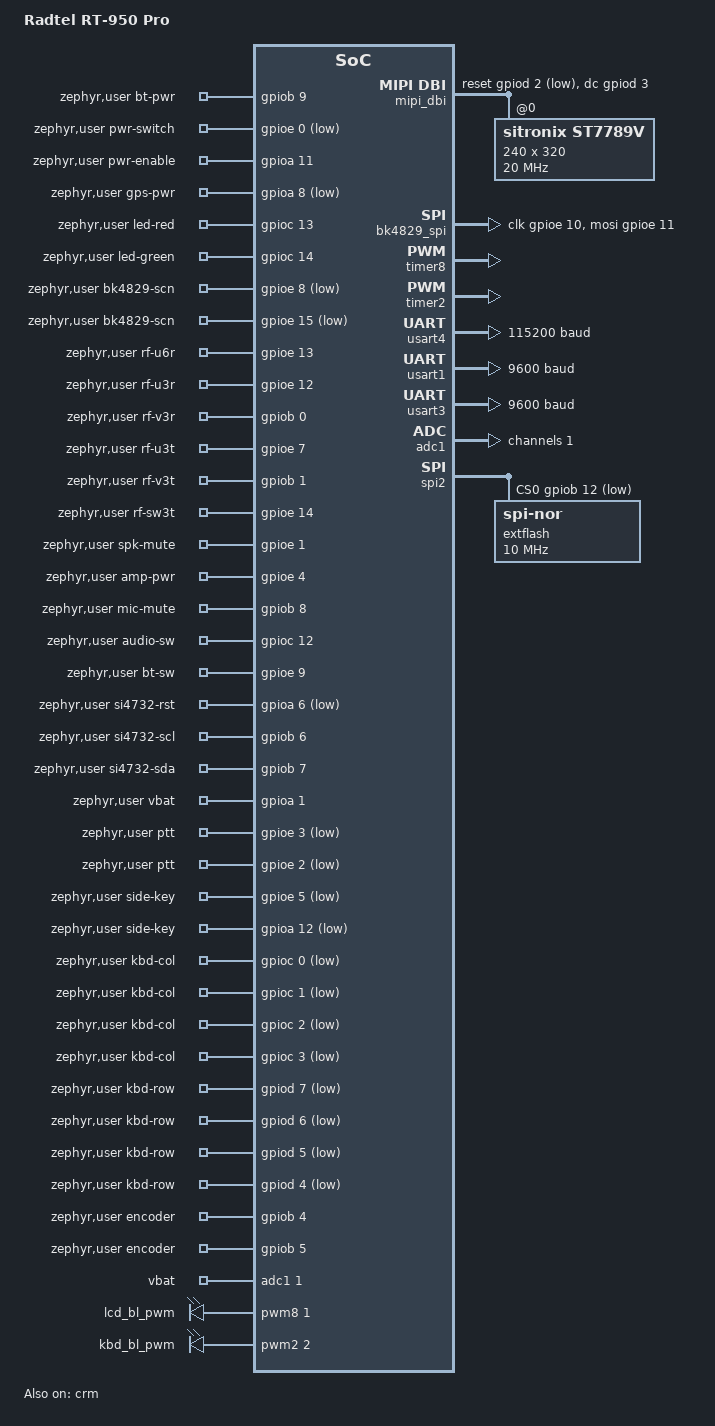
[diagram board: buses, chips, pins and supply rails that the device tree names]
/*
 * SPDX-FileCopyrightText: Copyright 2020-2026 OpenRTX Contributors
 *
 * SPDX-License-Identifier: GPL-3.0-or-later
 */

/*
 * Radtel RT-950 Pro, Artery AT32F403AVGT7 (Cortex-M4F, 1MB flash, 96kB or 224kB SRAM)
 */

/dts-v1/;
#include <at/at32f403a_407/at32f403avgt7.dtsi>
#include <zephyr/dt-bindings/adc/adc.h>
#include <zephyr/dt-bindings/gpio/gpio.h>
#include <zephyr/dt-bindings/pwm/pwm.h>
#include "rt950pro-pinctrl.dtsi"

/ {
	model = "Radtel RT-950 Pro";
	compatible = "radtel,rt950pro";

	aliases {
		gps = &usart3;
		bluetooth = &usart1;
	};

	chosen {
		zephyr,console = &usart4;
		zephyr,shell-uart = &usart4;
		zephyr,sram = &sram0;
		zephyr,flash = &flash0;
		zephyr,code-partition = &code_partition;
		zephyr,display = &st7789v;
	};

	/*
	 * ST7789V 240x320 IPS panel on an 8-bit 8080 parallel bus, bit-banged
	 * on GPIOD. The data lines share GPIOD with the keypad rows (PD4-PD7):
	 * the bit-bang driver only touches the data/control pins.
	 */
	mipi_dbi: mipi-dbi {
		compatible = "zephyr,mipi-dbi-bitbang";
		#address-cells = <1>;
		#size-cells = <0>;
		status = "okay";

		wr-gpios = <&gpiod 0 GPIO_ACTIVE_HIGH>;
		cs-gpios = <&gpiod 1 GPIO_ACTIVE_LOW>;
		reset-gpios = <&gpiod 2 GPIO_ACTIVE_LOW>;
		dc-gpios = <&gpiod 3 GPIO_ACTIVE_HIGH>;
		data-gpios = <&gpiod 8 GPIO_ACTIVE_HIGH>,
			     <&gpiod 9 GPIO_ACTIVE_HIGH>,
			     <&gpiod 10 GPIO_ACTIVE_HIGH>,
			     <&gpiod 11 GPIO_ACTIVE_HIGH>,
			     <&gpiod 12 GPIO_ACTIVE_HIGH>,
			     <&gpiod 13 GPIO_ACTIVE_HIGH>,
			     <&gpiod 14 GPIO_ACTIVE_HIGH>,
			     <&gpiod 15 GPIO_ACTIVE_HIGH>;

		/* Init values from the vendor firmware V0.27 LCD_Init sequence */
		st7789v: st7789v@0 {
			compatible = "sitronix,st7789v";
			reg = <0>;
			mipi-max-frequency = <20000000>;
			mipi-mode = "MIPI_DBI_MODE_8080_BUS_8_BIT";
			width = <240>;
			height = <320>;
			x-offset = <0>;
			y-offset = <0>;
			vcom = <0x3f>;
			gctrl = <0x35>;
			vrhs = <0x0f>;
			vdvs = <0x20>;
			mdac = <0xc0>;
			gamma = <0x01>;
			colmod = <0x05>;
			lcm = <0x2c>;
			porch-param = [05 05 00 33 33];
			cmd2en-param = [5a 69 02 01];
			pwctrl1-param = [a4 a1];
			pvgam-param = [d0 05 09 09 08 14 28 33 3f 07 13 14 28 30];
			nvgam-param = [d0 05 09 09 08 03 24 32 32 3b 14 13 28 2f];
			ram-param = [00 f0];
			rgb-param = [cd 08 14];
		};
	};

	/*
	 * Shared BK4829 half-duplex bus. Chip selects are controlled by the
	 * BK4829 driver across the command and data transfers.
	 */
	bk4829_spi: bk4829-spi {
		compatible = "zephyr,spi-bitbang";
		status = "okay";
		#address-cells = <1>;
		#size-cells = <0>;
		clk-gpios = <&gpioe 10 GPIO_ACTIVE_HIGH>;
		mosi-gpios = <&gpioe 11 GPIO_ACTIVE_HIGH>;
	};

	/*
	 * Board GPIOs used directly by the OpenRTX platform, display and
	 * keyboard drivers.
	 */
	zephyr,user {
		io-channels = <&adc1 1>;
		io-channel-names = "vbat";

		/*
		 * Bluetooth module enable, high powers it on. The vendor firmware
		 * sets it high when the Bluetooth setting is on and low
		 * otherwise, right after configuring USART1.
		 */
		bt-pwr-gpios = <&gpiob 9 GPIO_ACTIVE_HIGH>;

		/* Power/volume knob switch, low when the radio is switched on */
		pwr-switch-gpios = <&gpioe 0 (GPIO_PULL_UP | GPIO_ACTIVE_LOW)>;

		/* Power off */
		pwr-enable-gpios = <&gpioa 11 GPIO_ACTIVE_HIGH>;

		/* GPS power enable, active low */
		gps-pwr-gpios = <&gpioa 8 GPIO_ACTIVE_LOW>;

		led-red-gpios = <&gpioc 13 GPIO_ACTIVE_HIGH>;
		led-green-gpios = <&gpioc 14 GPIO_ACTIVE_HIGH>;

		/*
		 * BK4829 chip selects. The first transceiver (PE8) is wired to
		 * the VHF LNA and PA, the second one (PE15) to the UHF ones.
		 */
		bk4829-scn-gpios = <&gpioe 8 GPIO_ACTIVE_LOW>,
				   <&gpioe 15 GPIO_ACTIVE_LOW>;

		/*
		 * RF path switches, active high and idle low. Names are the
		 * PCB net names found by reverse
		 * engineering: U6R/U3R are RX path enables, V3R selects the
		 * VHF RX frontend, U3T/V3T/SW3T are the TX path and PA gate.
		 * PC4 (antenna band relay) is not handled.
		 */
		rf-u6r-gpios = <&gpioe 13 GPIO_ACTIVE_HIGH>;
		rf-u3r-gpios = <&gpioe 12 GPIO_ACTIVE_HIGH>;
		rf-v3r-gpios = <&gpiob 0 GPIO_ACTIVE_HIGH>;
		rf-u3t-gpios = <&gpioe 7 GPIO_ACTIVE_HIGH>;
		rf-v3t-gpios = <&gpiob 1 GPIO_ACTIVE_HIGH>;
		rf-sw3t-gpios = <&gpioe 14 GPIO_ACTIVE_HIGH>;

		/*
		 * Audio path, found by reverse engineering. PE1 mutes the
		 * speaker when high, PE4 powers the audio amplifier, PB8 high
		 * takes the microphone off its line. PC12 selects the audio
		 * source: high for the BK4829 chips, low for the MCU DAC. PE9
		 * low routes the audio to the speaker instead of the Bluetooth
		 * module.
		 */
		spk-mute-gpios = <&gpioe 1 GPIO_ACTIVE_HIGH>;
		amp-pwr-gpios = <&gpioe 4 GPIO_ACTIVE_HIGH>;
		mic-mute-gpios = <&gpiob 8 GPIO_ACTIVE_HIGH>;
		audio-sw-gpios = <&gpioc 12 GPIO_ACTIVE_HIGH>;
		bt-sw-gpios = <&gpioe 9 GPIO_ACTIVE_HIGH>;

		/*
		 * SI4732 broadcast receiver at address 0x11
		 */
		si4732-rst-gpios = <&gpioa 6 GPIO_ACTIVE_LOW>;
		si4732-scl-gpios = <&gpiob 6 GPIO_ACTIVE_HIGH>;
		si4732-sda-gpios = <&gpiob 7 GPIO_ACTIVE_HIGH>;

		/* Battery voltage through a resistive divider, ADC1 channel 1 */
		vbat-gpios = <&gpioa 1 0>;

		ptt-gpios = <&gpioe 3 (GPIO_PULL_UP | GPIO_ACTIVE_LOW)>,
			    <&gpioe 2 (GPIO_PULL_UP | GPIO_ACTIVE_LOW)>;

		/* Programmable side keys: top (PE5) and bottom (PA12) */
		side-key-gpios = <&gpioe 5 (GPIO_PULL_UP | GPIO_ACTIVE_LOW)>,
				 <&gpioa 12 (GPIO_PULL_UP | GPIO_ACTIVE_LOW)>;

		/*
		 * Keypad matrix, columns are driven low one at a time and rows
		 * read back. PC4 is the VHF/UHF antenna relay and must never be
		 * touched by the keypad scan.
		 */
		kbd-col-gpios = <&gpioc 0 GPIO_ACTIVE_LOW>,
				<&gpioc 1 GPIO_ACTIVE_LOW>,
				<&gpioc 2 GPIO_ACTIVE_LOW>,
				<&gpioc 3 GPIO_ACTIVE_LOW>;
				
		/* Rows from top to bottom: PD7, PD6, PD5, PD4 */
		kbd-row-gpios = <&gpiod 7 (GPIO_PULL_UP | GPIO_ACTIVE_LOW)>,
				<&gpiod 6 (GPIO_PULL_UP | GPIO_ACTIVE_LOW)>,
				<&gpiod 5 (GPIO_PULL_UP | GPIO_ACTIVE_LOW)>,
				<&gpiod 4 (GPIO_PULL_UP | GPIO_ACTIVE_LOW)>;

		/* Rotary encoder, channel A and B */
		encoder-gpios = <&gpiob 4 (GPIO_PULL_UP | GPIO_ACTIVE_HIGH)>,
				<&gpiob 5 (GPIO_PULL_UP | GPIO_ACTIVE_HIGH)>;
	};

	pwmleds {
		compatible = "pwm-leds";

		/* LCD backlight brightness, PC6 driven by TMR8 channel 1 */
		lcd_bl_pwm: lcd-bl-pwm {
			pwms = <&pwm8 1 PWM_MSEC(1) PWM_POLARITY_NORMAL>;
		};

		/* Keypad backlight brightness, PB3 driven by TMR2 channel 2 */
		kbd_bl_pwm: kbd-bl-pwm {
			pwms = <&pwm2 2 PWM_MSEC(1) PWM_POLARITY_NORMAL>;
		};
	};
};

/* 1MHz timer clock: 120MHz / (119 + 1) */
&timer8 {
	at,prescaler = <119>;
	status = "okay";

	pwm8: pwm {
		pinctrl-0 = <&tmr8_ch1_default>;
		pinctrl-names = "default";
		status = "okay";
	};
};

/* 1MHz timer clock: 120MHz / (119 + 1) */
&timer2 {
	at,prescaler = <119>;
	status = "okay";

	pwm2: pwm {
		pinctrl-0 = <&tmr2_ch2_default>;
		pinctrl-names = "default";
		status = "okay";
	};
};

&gpioa {
	status = "okay";
};

&gpiob {
	status = "okay";
};

&gpioc {
	status = "okay";
};

&gpiod {
	status = "okay";
};

&gpioe {
	status = "okay";
};

/* 8MHz crystal, PLL x15: 120MHz system clock as in the vendor firmware */
&clk_hext {
	clock-frequency = <DT_FREQ_M(8)>;
	status = "okay";
};

&pll {
	/* Values are the HAL enumerators: mul = 13 is CRM_PLL_MULT_15 */
	mul = <13>;
	/* xtpre = 0 selects HEXT undivided as PLL input */
	xtpre = <0>;
	/* CRM_USB_DIV_2_5: 120MHz / 2.5 = 48MHz */
	div_fu = <2>;
	clocks = <&clk_hext>;
	status = "okay";
};

&sysclk {
	clock-frequency = <DT_FREQ_M(120)>;
	status = "okay";
};

&crm {
	clocks = <&pll>;
	clock-frequency = <DT_FREQ_M(120)>;
	ahb-prescaler = <1>;
	apb1-prescaler = <2>;
	apb2-prescaler = <2>;
	status = "okay";
};

&usart4 {
	/*
	 * Above the DMA interrupts (audio_rt950pro.c): a received character must
	 * be read before the next one, 87us later at 115200 Bd
	 */
	interrupts = <52 0>;
	pinctrl-0 = <&usart4_default>;
	pinctrl-names = "default";
	current-speed = <115200>;
	status = "okay";
};

/* Bluetooth serial module (SPP) */
&usart1 {
	/*
	 * Below the audio DMA interrupts (audio_rt950pro.c)
	 */
	interrupts = <37 2>;
	pinctrl-0 = <&usart1_default>;
	pinctrl-names = "default";
	current-speed = <9600>;
	status = "okay";
};

&usart3 {
	/*
	 * Below the audio DMA interrupts (audio_rt950pro.c)
	 */
	interrupts = <39 2>;
	pinctrl-0 = <&usart3_default>;
	pinctrl-names = "default";
	current-speed = <9600>;
	status = "okay";
};

&adc1 {
	/*
	 * Below the audio DMA interrupts (audio_rt950pro.c): the battery voltage
	 * conversions must not delay them
	 */
	interrupts = <18 2>;
	at,adc-clock-source = "SYNC";
	at,adc-prescaler = <2>;
	status = "okay";
	#address-cells = <1>;
	#size-cells = <0>;

	channel@1 {
		reg = <1>;
		zephyr,gain = "ADC_GAIN_1";
		zephyr,reference = "ADC_REF_INTERNAL";
		zephyr,acquisition-time = <ADC_ACQ_TIME(ADC_ACQ_TIME_TICKS, 240)>;
		zephyr,resolution = <12>;
	};
};

/* External 4 MB SPI NOR: the vendor firmware keeps its data there */
&spi2 {
	pinctrl-0 = <&spi2_default>;
	pinctrl-names = "default";
	cs-gpios = <&gpiob 12 GPIO_ACTIVE_LOW>;
	status = "okay";

	extflash: flash@0 {
		compatible = "jedec,spi-nor";
		reg = <0>;
		spi-max-frequency = <10000000>;
		size = <DT_SIZE_M(32)>;
		has-dpd;
	};
};

/*
 * 224 kB of SRAM, selected by EOPB0 in the option bytes: platform_init()
 * makes sure it is (optionbytes.c).
 */
&sram0 {
	reg = <0x20000000 DT_SIZE_K(224)>;
};

&flash0 {
	partitions {
		compatible = "fixed-partitions";
		#address-cells = <1>;
		#size-cells = <1>;

		/* Vendor bootloader, never overwritten */
		boot_partition: partition@0 {
			label = "bootloader";
			reg = <0x00000000 DT_SIZE_K(12)>;
			read-only;
		};

		/* OpenRTX image, uploaded through the vendor bootloader */
		code_partition: partition@3000 {
			label = "code";
			reg = <0x00003000 DT_SIZE_K(1004)>;
		};

		/* OpenRTX storage */
		storage_partition: partition@fe000 {
			reg = <0x000FE000 DT_SIZE_K(8)>;
		};
	};
};
